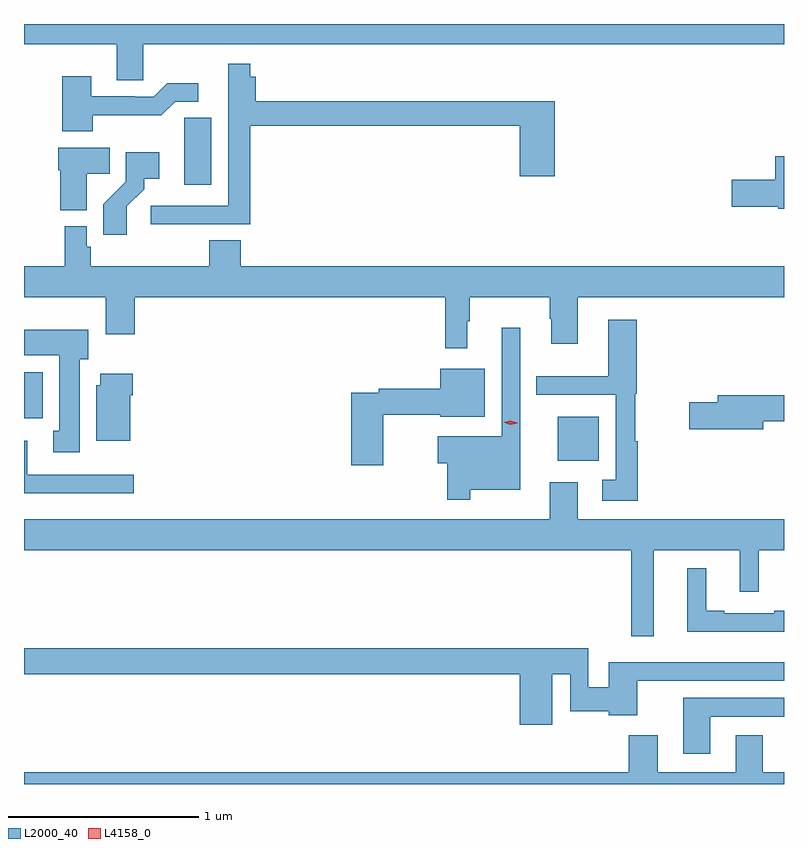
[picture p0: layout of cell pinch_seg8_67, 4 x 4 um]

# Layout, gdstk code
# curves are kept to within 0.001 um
import gdstk
lib = gdstk.Library(unit=1e-6, precision=1e-09)
def R(c, l, rs):  # rectangles x0, y0, x1, y1
    for r in rs: c.add(gdstk.rectangle(r[:2], r[2:], *l))
def P(c, l, *ps):  # polygons
    for p in ps: c.add(gdstk.Polygon(p, *l))
L2000_40 = (2000, 40)
L4158_0 = (4158, 0)

pinch_seg8_67 = lib.new_cell('pinch_seg8_67')
R(pinch_seg8_67, L2000_40, [(906.344,1122.299,906.562,1122.532), (903.536,1122.524,903.634,1122.766)])
P(pinch_seg8_67, L2000_40, [(904.164,1124.492),(907.536,1124.492),(907.536,1124.598),(903.536,1124.598),(903.536,1124.492),(904.025,1124.492),(904.025,1124.302),(904.164,1124.302)],
  [(904.427,1123.545),(904.727,1123.545),(904.727,1124.062),(906.146,1124.062),(906.146,1123.797),(906.329,1123.797),(906.329,1124.191),(904.757,1124.191),(904.757,1124.32),(904.727,1124.32),(904.727,1124.389),(904.611,1124.389),(904.611,1123.641),(904.203,1123.641),(904.203,1123.543),(904.427,1123.543)],
  [(903.897,1124.118),(904.259,1124.117),(904.332,1124.19),(904.453,1124.19),(904.453,1124.287),(904.291,1124.287),(904.218,1124.214),(904.118,1124.214),(904.118,1124.217),(903.889,1124.217),(903.889,1124.323),(903.737,1124.323),(903.737,1124.033),(903.897,1124.033)],
  [(904.522,1124.105),(904.38,1124.105),(904.38,1123.994),(904.379,1123.994),(904.379,1123.752),(904.522,1123.752)],
  [(903.865,1123.81),(903.986,1123.81),(903.986,1123.948),(903.716,1123.948),(903.716,1123.827),(903.728,1123.827),(903.728,1123.619),(903.865,1123.619)],
  [(904.078,1123.639),(904.168,1123.729),(904.168,1123.784),(904.249,1123.784),(904.249,1123.924),(904.071,1123.924),(904.071,1123.769),(903.952,1123.65),(903.952,1123.488),(904.078,1123.488)],
  [(907.536,1123.903),(907.49,1123.903),(907.49,1123.778),(907.26,1123.778),(907.26,1123.636),(907.506,1123.636),(907.506,1123.625),(907.536,1123.625)],
  [(905.87,1123.034),(905.881,1123.034),(905.881,1123.16),(906.304,1123.16),(906.304,1123.046),(906.311,1123.046),(906.311,1122.915),(906.451,1122.915),(906.451,1123.16),(907.536,1123.16),(907.536,1123.324),(904.676,1123.324),(904.676,1123.46),(904.511,1123.46),(904.511,1123.324),(903.887,1123.324),(903.887,1123.425),(903.867,1123.425),(903.867,1123.534),(903.751,1123.534),(903.751,1123.324),(903.536,1123.324),(903.536,1123.16),(903.965,1123.16),(903.965,1122.966),(904.118,1122.966),(904.118,1123.16),(905.752,1123.16),(905.752,1122.891),(905.87,1122.891)],
  [(906.767,1122.402),(906.752,1122.402),(906.752,1122.651),(906.761,1122.651),(906.761,1123.042),(906.611,1123.042),(906.611,1122.745),(906.232,1122.745),(906.232,1122.648),(906.651,1122.648),(906.651,1122.199),(906.579,1122.199),(906.579,1122.09),(906.767,1122.09)],
  [(905.884,1122.146),(906.149,1122.146),(906.149,1122.523),(906.147,1122.523),(906.147,1123),(906.051,1123),(906.051,1122.427),(905.714,1122.427),(905.714,1122.286),(905.763,1122.286),(905.763,1122.093),(905.884,1122.093)],
  [(903.829,1122.834),(903.874,1122.834),(903.874,1122.988),(903.536,1122.988),(903.536,1122.854),(903.722,1122.854),(903.722,1122.458),(903.689,1122.458),(903.689,1122.345),(903.829,1122.345)],
  [(905.428,1122.541),(905.726,1122.541),(905.726,1122.53),(905.962,1122.53),(905.962,1122.784),(905.726,1122.784),(905.726,1122.677),(905.404,1122.677),(905.404,1122.657),(905.258,1122.657),(905.258,1122.276),(905.428,1122.276)],
  [(904.096,1122.644),(904.109,1122.644),(904.109,1122.757),(903.938,1122.757),(903.938,1122.696),(903.917,1122.696),(903.917,1122.404),(904.096,1122.404)],
  [(907.426,1122.508),(907.536,1122.508),(907.536,1122.644),(907.187,1122.644),(907.187,1122.608),(907.038,1122.608),(907.038,1122.466),(907.426,1122.466)],
  [(904.114,1122.225),(903.553,1122.225),(903.553,1122.405),(903.536,1122.405),(903.536,1122.128),(904.114,1122.128)],
  [(906.851,1121.828),(907.304,1121.828),(907.304,1121.61),(907.403,1121.61),(907.403,1121.828),(907.536,1121.828),(907.536,1121.992),(906.451,1121.992),(906.451,1122.187),(906.302,1122.187),(906.302,1121.992),(903.536,1121.992),(903.536,1121.828),(906.733,1121.828),(906.733,1121.376),(906.851,1121.376)],
  [(907.536,1121.509),(907.484,1121.509),(907.484,1121.496),(907.222,1121.496),(907.222,1121.509),(907.127,1121.509),(907.127,1121.734),(907.028,1121.734),(907.028,1121.399),(907.536,1121.399)],
  [(906.316,1121.176),(906.411,1121.176),(906.411,1120.98),(906.614,1120.98),(906.614,1120.961),(906.763,1120.961),(906.763,1121.142),(907.536,1121.142),(907.536,1121.239),(906.614,1121.239),(906.614,1121.108),(906.507,1121.108),(906.507,1121.312),(903.536,1121.312),(903.536,1121.176),(906.146,1121.176),(906.146,1120.911),(906.316,1120.911)],
  [(907.147,1120.951),(907.536,1120.951),(907.536,1121.052),(907.007,1121.052),(907.007,1120.758),(907.147,1120.758)],
  [(907.536,1120.66),(907.423,1120.66),(907.423,1120.855),(907.283,1120.855),(907.283,1120.66),(906.871,1120.66),(906.871,1120.855),(906.719,1120.855),(906.719,1120.66),(903.536,1120.66),(903.536,1120.598),(907.536,1120.598)])
P(pinch_seg8_67, L4158_0, [(906.096,1122.49),(906.061,1122.501),(906.061,1122.501),(906.061,1122.501),(906.097,1122.51),(906.132,1122.499),(906.133,1122.498),(906.132,1122.498)])

lib.write_gds('pinch_seg8_67.gds')
